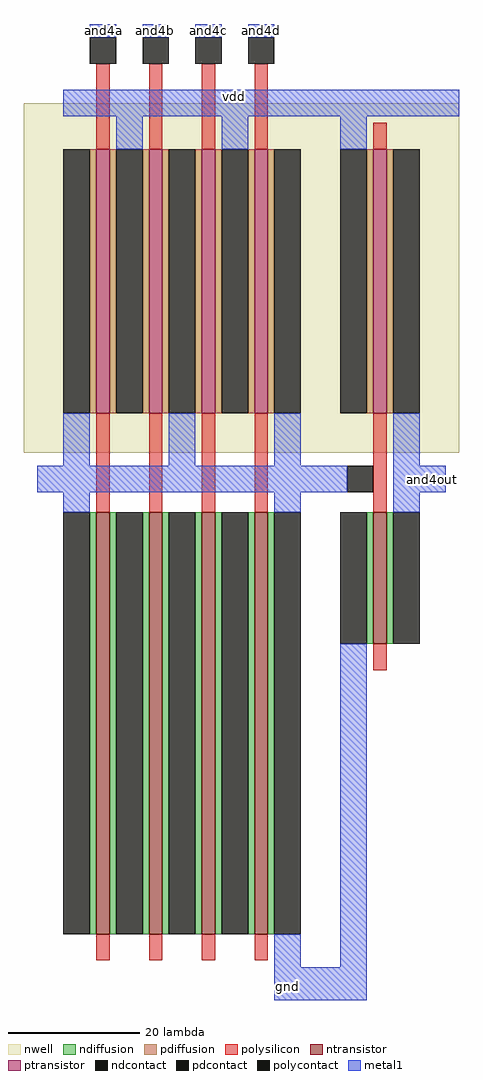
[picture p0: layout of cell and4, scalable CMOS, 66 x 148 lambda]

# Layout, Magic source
magic
tech scmos
<< nwell >>
rect -4 53 62 106
<< ntransistor >>
rect 7 -20 9 44
rect 15 -20 17 44
rect 23 -20 25 44
rect 31 -20 33 44
rect 49 24 51 44
<< ptransistor >>
rect 7 59 9 99
rect 15 59 17 99
rect 23 59 25 99
rect 31 59 33 99
rect 49 59 51 99
<< ndiffusion >>
rect 6 -20 7 44
rect 9 -20 10 44
rect 14 -20 15 44
rect 17 -20 18 44
rect 22 -20 23 44
rect 25 -20 26 44
rect 30 -20 31 44
rect 33 -20 34 44
rect 48 24 49 44
rect 51 24 52 44
<< pdiffusion >>
rect 6 59 7 99
rect 9 59 10 99
rect 14 59 15 99
rect 17 59 18 99
rect 22 59 23 99
rect 25 59 26 99
rect 30 59 31 99
rect 33 59 34 99
rect 48 59 49 99
rect 51 59 52 99
<< ndcontact >>
rect 2 -20 6 44
rect 10 -20 14 44
rect 18 -20 22 44
rect 26 -20 30 44
rect 34 -20 38 44
rect 44 24 48 44
rect 52 24 56 44
<< pdcontact >>
rect 2 59 6 99
rect 10 59 14 99
rect 18 59 22 99
rect 26 59 30 99
rect 34 59 38 99
rect 44 59 48 99
rect 52 59 56 99
<< polysilicon >>
rect 7 99 9 112
rect 15 99 17 112
rect 23 99 25 112
rect 31 99 33 112
rect 49 99 51 103
rect 7 44 9 59
rect 15 44 17 59
rect 23 44 25 59
rect 31 44 33 59
rect 49 44 51 59
rect 49 20 51 24
rect 7 -24 9 -20
rect 15 -24 17 -20
rect 23 -24 25 -20
rect 31 -24 33 -20
<< polycontact >>
rect 6 112 10 116
rect 14 112 18 116
rect 22 112 26 116
rect 30 112 34 116
rect 45 47 49 51
<< metal1 >>
rect 6 116 10 118
rect 14 116 18 118
rect 22 116 26 118
rect 30 116 34 118
rect 2 104 62 108
rect 10 99 14 104
rect 26 99 30 104
rect 44 99 48 104
rect 2 51 6 59
rect 18 51 22 59
rect 34 51 38 59
rect 52 51 56 59
rect -2 47 45 51
rect 52 47 60 51
rect 2 44 6 47
rect 34 44 38 47
rect 52 44 56 47
rect 34 -25 38 -20
rect 44 -25 48 24
rect 34 -30 48 -25
<< labels >>
rlabel metal1 18 106 38 108 1 vdd
rlabel metal1 34 -30 38 -26 1 gnd
rlabel metal1 6 116 10 118 5 and4a
rlabel metal1 14 116 18 118 5 and4b
rlabel metal1 22 116 26 118 5 and4c
rlabel metal1 30 116 34 118 5 and4d
rlabel metal1 56 47 60 51 7 and4out
<< end >>
